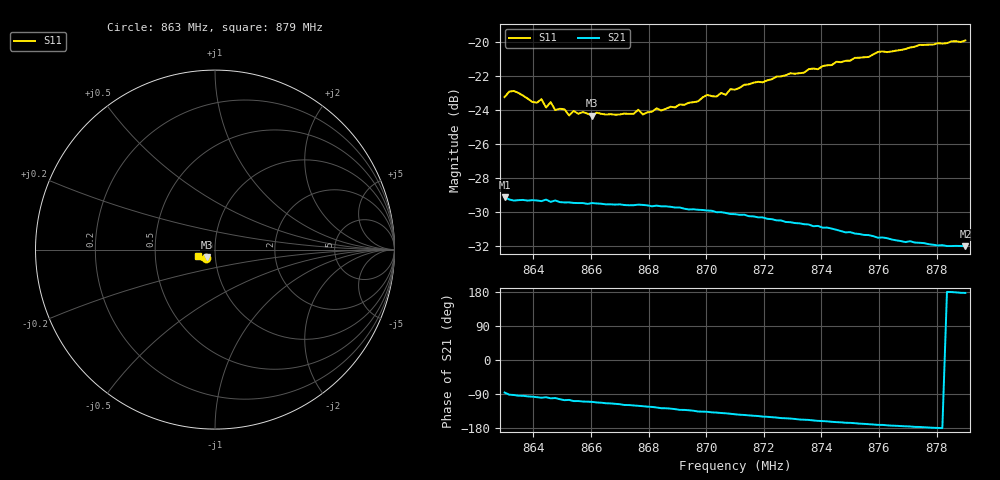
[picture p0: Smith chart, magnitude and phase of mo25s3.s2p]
# HZ S RI R 50
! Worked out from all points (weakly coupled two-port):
!   101 points, 863 MHz to 879 MHz, reference 50 ohm
!   highest |S21| = -29.11 dB at 863 MHz (marker M1); lowest = -32.0 dB at 879 MHz (marker M2)
!   lowest |S11| = -24.3 dB at 866.04 MHz (marker M3), VSWR 1.13, Z = 45.7 - j3.9 ohm
!   |S11| at or under -10 dB: start of sweep to end of sweep
!   S12 and S22 are empty: the file has one direction only
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8.63e8  -0.0514 -0.0461  0.00251 -0.0349  0 0  0 0
8.6332e8  -0.0557 -0.0455  -0.00141 -0.0342  0 0  0 0
8.6396e8  -0.0508 -0.0433  -0.00404 -0.0341  0 0  0 0
8.6428e8  -0.0525 -0.0433  -0.00564 -0.0336  0 0  0 0
8.6444e8  -0.0473 -0.0436  -0.00491 -0.0341  0 0  0 0
8.646e8  -0.0506 -0.0434  -0.00656 -0.0333  0 0  0 0
8.6476e8  -0.0459 -0.0435  -0.00617 -0.0337  0 0  0 0
8.6508e8  -0.0463 -0.0434  -0.00931 -0.0325  0 0  0 0
8.6524e8  -0.0436 -0.0426  -0.00895 -0.0326  0 0  0 0
8.654e8  -0.0447 -0.0442  -0.0107 -0.032  0 0  0 0
8.6572e8  -0.044 -0.0442  -0.0113 -0.0317  0 0  0 0
8.6604e8  -0.0435 -0.0425  -0.0118 -0.0315  0 0  0 0
8.662e8  -0.0432 -0.0446  -0.0126 -0.0311  0 0  0 0
8.6748e8  -0.0404 -0.0466  -0.0166 -0.0287  0 0  0 0
8.6764e8  -0.0409 -0.0484  -0.0171 -0.0286  0 0  0 0
8.678e8  -0.041 -0.0456  -0.0176 -0.0282  0 0  0 0
8.6828e8  -0.0404 -0.0496  -0.0191 -0.027  0 0  0 0
8.6844e8  -0.0399 -0.0488  -0.0199 -0.0262  0 0  0 0
8.71e8  -0.0456 -0.0564  -0.025 -0.0187  0 0  0 0
8.7372e8  -0.0589 -0.0595  -0.027 -0.0101  0 0  0 0
8.7644e8  -0.078 -0.0524  -0.0261 -0.00313  0 0  0 0
8.79e8  -0.0951 -0.035  -0.0251 0.0013  0 0  0 0
